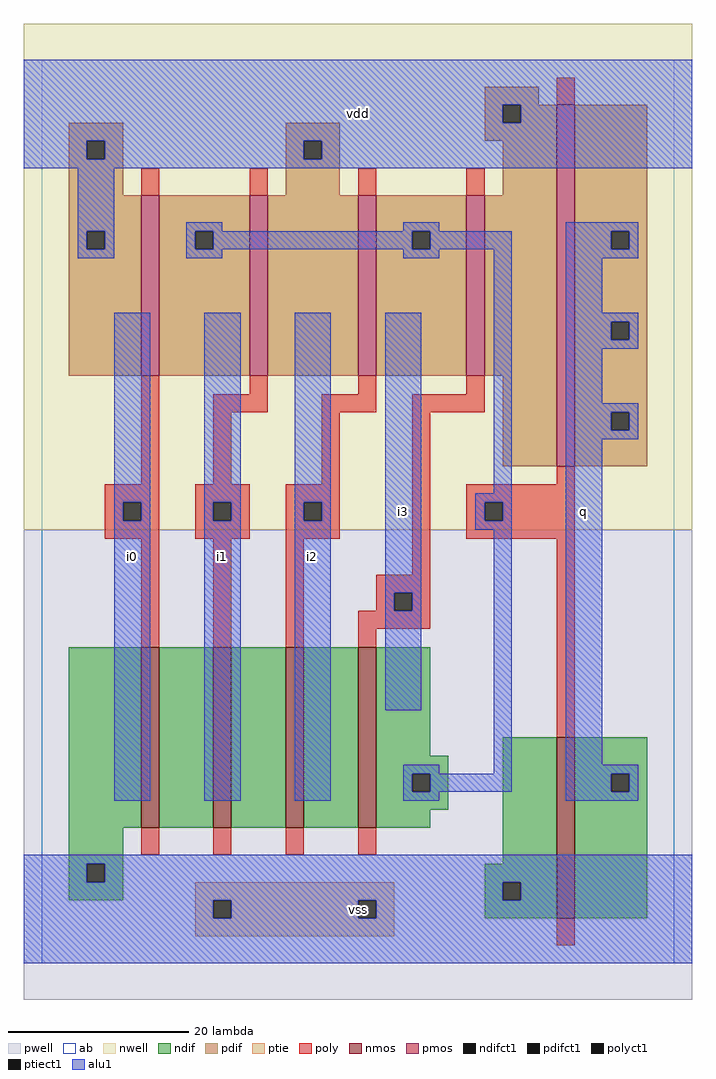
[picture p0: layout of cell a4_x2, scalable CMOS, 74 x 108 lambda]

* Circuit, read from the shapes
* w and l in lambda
.subckt a4_x2 i0 i1 i2 i3 q vdd vss
M1 n1 i0 vss vss nfet w=20 l=2
M2 n2 i1 n1 vss nfet w=20 l=2
M3 n3 i2 n2 vss nfet w=20 l=2
M4 n4 i3 n3 vss nfet w=20 l=2
M5 q n4 vss vss nfet w=20 l=2
M6 n4 i0 vdd n5 pfet w=20 l=2
M7 vdd i1 n4 n5 pfet w=20 l=2
M8 n4 i2 vdd n5 pfet w=20 l=2
M9 vdd i3 n4 n5 pfet w=20 l=2
M10 q n4 vdd n5 pfet w=40 l=2
.ends

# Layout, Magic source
magic
tech scmos
<< ab >>
rect 0 0 70 100
<< nwell >>
rect -2 48 72 104
<< pwell >>
rect -2 -4 72 48
<< poly >>
rect 57 95 59 98
rect 11 85 13 88
rect 23 85 25 88
rect 35 85 37 88
rect 47 85 49 88
rect 11 53 13 65
rect 23 63 25 65
rect 35 63 37 65
rect 47 63 49 65
rect 19 61 25 63
rect 31 61 37 63
rect 41 61 49 63
rect 19 53 21 61
rect 31 53 33 61
rect 7 51 13 53
rect 7 49 9 51
rect 11 49 13 51
rect 7 47 13 49
rect 17 51 23 53
rect 17 49 19 51
rect 21 49 23 51
rect 17 47 23 49
rect 27 51 33 53
rect 27 49 29 51
rect 31 49 33 51
rect 27 47 33 49
rect 11 35 13 47
rect 19 35 21 47
rect 27 35 29 47
rect 41 43 43 61
rect 57 53 59 55
rect 47 51 59 53
rect 47 49 49 51
rect 51 49 59 51
rect 47 47 59 49
rect 37 41 43 43
rect 37 39 39 41
rect 41 39 43 41
rect 35 37 43 39
rect 35 35 37 37
rect 57 25 59 47
rect 11 12 13 15
rect 19 12 21 15
rect 27 12 29 15
rect 35 12 37 15
rect 57 2 59 5
<< ndif >>
rect 3 15 11 35
rect 13 15 19 35
rect 21 15 27 35
rect 29 15 35 35
rect 37 23 43 35
rect 37 21 45 23
rect 37 19 41 21
rect 43 19 45 21
rect 37 17 45 19
rect 37 15 43 17
rect 3 11 9 15
rect 51 11 57 25
rect 3 9 5 11
rect 7 9 9 11
rect 49 9 57 11
rect 3 7 9 9
rect 49 7 51 9
rect 53 7 57 9
rect 49 5 57 7
rect 59 21 67 25
rect 59 19 63 21
rect 65 19 67 21
rect 59 5 67 19
<< pdif >>
rect 49 95 55 97
rect 49 93 51 95
rect 53 93 57 95
rect 3 91 9 93
rect 3 89 5 91
rect 7 89 9 91
rect 3 85 9 89
rect 27 91 33 93
rect 49 91 57 93
rect 27 89 29 91
rect 31 89 33 91
rect 27 85 33 89
rect 51 85 57 91
rect 3 81 11 85
rect 3 79 5 81
rect 7 79 11 81
rect 3 65 11 79
rect 13 81 23 85
rect 13 79 17 81
rect 19 79 23 81
rect 13 65 23 79
rect 25 65 35 85
rect 37 81 47 85
rect 37 79 41 81
rect 43 79 47 81
rect 37 65 47 79
rect 49 65 57 85
rect 51 55 57 65
rect 59 81 67 95
rect 59 79 63 81
rect 65 79 67 81
rect 59 71 67 79
rect 59 69 63 71
rect 65 69 67 71
rect 59 61 67 69
rect 59 59 63 61
rect 65 59 67 61
rect 59 55 67 59
<< alu1 >>
rect -2 95 72 100
rect -2 93 51 95
rect 53 93 72 95
rect -2 91 72 93
rect -2 89 5 91
rect 7 89 29 91
rect 31 89 72 91
rect -2 88 72 89
rect 4 81 8 88
rect 4 79 5 81
rect 7 79 8 81
rect 4 78 8 79
rect 16 81 20 82
rect 40 81 44 82
rect 58 81 66 82
rect 16 79 17 81
rect 19 79 41 81
rect 43 79 52 81
rect 16 78 20 79
rect 40 78 44 79
rect 8 51 12 72
rect 8 49 9 51
rect 11 49 12 51
rect 8 18 12 49
rect 18 51 22 72
rect 18 49 19 51
rect 21 49 22 51
rect 18 18 22 49
rect 28 51 32 72
rect 28 49 29 51
rect 31 49 32 51
rect 28 18 32 49
rect 38 41 42 72
rect 50 52 52 79
rect 48 51 52 52
rect 48 49 49 51
rect 51 49 52 51
rect 48 48 52 49
rect 38 39 39 41
rect 41 39 42 41
rect 38 28 42 39
rect 40 21 44 22
rect 50 21 52 48
rect 40 19 41 21
rect 43 19 52 21
rect 58 79 63 81
rect 65 79 66 81
rect 58 78 66 79
rect 58 72 62 78
rect 58 71 66 72
rect 58 69 63 71
rect 65 69 66 71
rect 58 68 66 69
rect 58 62 62 68
rect 58 61 66 62
rect 58 59 63 61
rect 65 59 66 61
rect 58 58 66 59
rect 58 22 62 58
rect 58 21 66 22
rect 58 19 63 21
rect 65 19 66 21
rect 40 18 44 19
rect 58 18 66 19
rect -2 11 72 12
rect -2 9 5 11
rect 7 9 72 11
rect -2 7 51 9
rect 53 7 72 9
rect -2 5 19 7
rect 21 5 35 7
rect 37 5 72 7
rect -2 0 72 5
<< ptie >>
rect 17 7 39 9
rect 17 5 19 7
rect 21 5 35 7
rect 37 5 39 7
rect 17 3 39 5
<< nmos >>
rect 11 15 13 35
rect 19 15 21 35
rect 27 15 29 35
rect 35 15 37 35
rect 57 5 59 25
<< pmos >>
rect 11 65 13 85
rect 23 65 25 85
rect 35 65 37 85
rect 47 65 49 85
rect 57 55 59 95
<< polyct1 >>
rect 9 49 11 51
rect 19 49 21 51
rect 29 49 31 51
rect 49 49 51 51
rect 39 39 41 41
<< ndifct1 >>
rect 41 19 43 21
rect 5 9 7 11
rect 51 7 53 9
rect 63 19 65 21
<< ptiect1 >>
rect 19 5 21 7
rect 35 5 37 7
<< pdifct1 >>
rect 51 93 53 95
rect 5 89 7 91
rect 29 89 31 91
rect 5 79 7 81
rect 17 79 19 81
rect 41 79 43 81
rect 63 79 65 81
rect 63 69 65 71
rect 63 59 65 61
<< labels >>
rlabel alu1 10 45 10 45 6 i0
rlabel alu1 20 45 20 45 6 i1
rlabel alu1 30 45 30 45 6 i2
rlabel alu1 35 6 35 6 6 vss
rlabel alu1 40 50 40 50 6 i3
rlabel alu1 35 94 35 94 6 vdd
rlabel alu1 60 50 60 50 6 q
<< end >>
